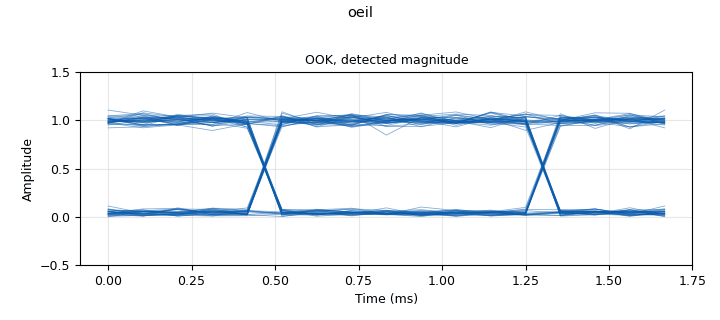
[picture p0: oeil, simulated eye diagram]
options:
  parameters:
    generate_options: qt_gui
    id: fg_tp13_001
    output_language: python
    title: FG-TP13-001
  states: {}

blocks:
- name: bit_rate
  id: variable
  parameters:
    value: '1200'
  states: {}
- name: f_porteuse
  id: variable
  parameters:
    value: '2400'
  states: {}
- name: noise
  id: variable_qtgui_range
  parameters:
    gui_hint: 0,0,1,1
    label: '"Channel Noise"'
    start: '0'
    step: '0.01'
    stop: '0.5'
    value: '0.05'
  states: {}
- name: samp_rate
  id: variable
  parameters:
    value: bit_rate * sps
  states: {}
- name: sps
  id: variable
  parameters:
    value: '8'
  states: {}
- name: allumer
  id: blocks_multiply_xx
  parameters:
    type: complex
  states: {}
- name: bits
  id: analog_random_source_x
  parameters:
    max: '2'
    min: '0'
    num_samps: '1000'
    repeat: 'True'
    type: byte
  states: {}
- name: canal
  id: channels_channel_model
  parameters:
    epsilon: '1.0'
    freq_offset: '0'
    noise_voltage: noise
    seed: '0'
    taps: '[1.0 + 0.0j]'
  states: {}
- name: debit_flux
  id: blocks_throttle2
  parameters:
    samples_per_second: samp_rate
    type: complex
  states: {}
- name: detecteur
  id: blocks_complex_to_mag
  parameters: {}
  states: {}
- name: en_flottant
  id: blocks_char_to_float
  parameters:
    scale: '1'
  states: {}
- name: etaler
  id: blocks_repeat
  parameters:
    interp: sps
    type: float
  states: {}
- name: importer_math
  id: import
  parameters:
    imports: import math
  states: {}
- name: oeil
  id: qtgui_eye_sink_x
  parameters:
    grid: 'True'
    gui_hint: 1,0,1,1
    label1: '"OOK, detected magnitude"'
    samp_per_symbol: sps
    size: '1024'
    srate: samp_rate
    type: float
    ymax: '1.5'
    ymin: '-0.5'
  states: {}
- name: porteuse
  id: analog_sig_source_x
  parameters:
    amp: '1'
    freq: f_porteuse
    offset: '0'
    phase: '0'
    samp_rate: samp_rate
    type: complex
    waveform: analog.GR_COS_WAVE
  states: {}
- name: vers_complexe
  id: blocks_float_to_complex
  parameters: {}
  states: {}

connections:
- [allumer, '0', debit_flux, '0']
- [bits, '0', en_flottant, '0']
- [canal, '0', detecteur, '0']
- [debit_flux, '0', canal, '0']
- [detecteur, '0', oeil, '0']
- [en_flottant, '0', etaler, '0']
- [etaler, '0', vers_complexe, '0']
- [porteuse, '0', allumer, '1']
- [vers_complexe, '0', allumer, '0']

metadata:
  file_format: 1
  grc_version: 3.10.12.0
